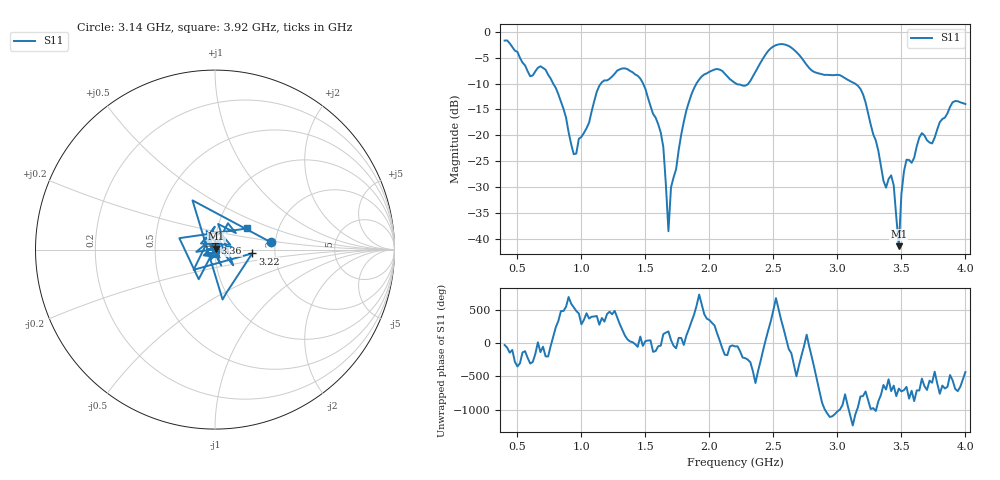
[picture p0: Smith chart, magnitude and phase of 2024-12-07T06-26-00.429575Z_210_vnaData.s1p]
!Created with skrf (http://scikit-rf.org).
# Hz S RI R 50.0
!freq ReS11 ImS11
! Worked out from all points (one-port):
!   181 points, 400 MHz to 4 GHz, reference 50 ohm
!   lowest |S11| = -41.4 dB at 3.48 GHz (marker M1), VSWR 1.02, Z = 50.7 + j0.52 ohm
!   |S11| at or under -10 dB: 779.5 MHz to 1.152 GHz (372.5 MHz wide, 38.6 % of centre); 1.482 GHz to 1.898 GHz (416.1 MHz wide, 24.6 % of centre); 3.138 GHz to end of sweep (the widest 3 of 4)
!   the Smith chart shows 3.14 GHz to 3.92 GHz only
!   S11 on the Smith chart (normalised r, x): 3.14 GHz: 1.90, +0.17; 3.22 GHz: 1.52, -0.07; 3.36 GHz: 1.00, +0.07; 3.92 GHz: 1.39, +0.34
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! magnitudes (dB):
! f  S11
! 400 MHz  -1.7
! 600 MHz  -8.6
! 720 MHz  -7.3
! 860 MHz  -14.9
! 960 MHz  -23.5
! 1.14 GHz  -10.4
! 1.3 GHz  -7.2
! 1.46 GHz  -9.0
! 1.62 GHz  -19.5
! 1.64 GHz  -22.3
! 1.68 GHz  -38.5
! 1.7 GHz  -30.1
! 1.76 GHz  -22.8
! 1.84 GHz  -13.6
! 1.94 GHz  -8.6
! 2.2 GHz  -9.9
! 2.5 GHz  -2.8
! 2.66 GHz  -3.4
! 3.1 GHz  -9.5
! 3.14 GHz  -10.0
! 3.22 GHz  -13.6
! 3.36 GHz  -28.8
! 3.44 GHz  -29.7
! 3.48 GHz  -41.4
! 3.52 GHz  -27.0
! 3.56 GHz  -24.8
! 3.92 GHz  -13.4
! 4 GHz  -13.9
